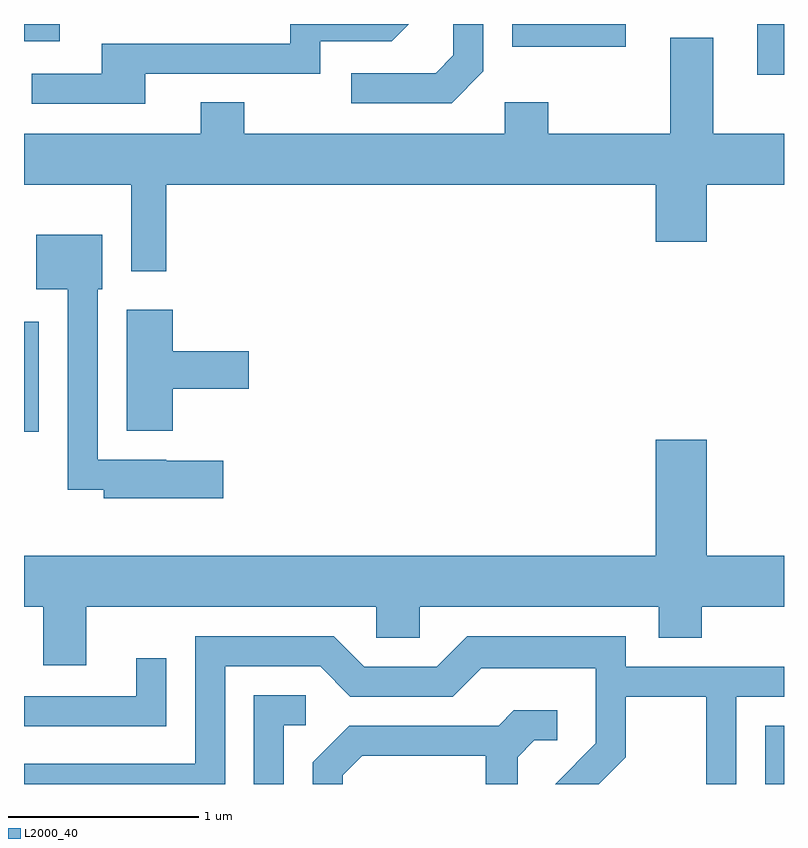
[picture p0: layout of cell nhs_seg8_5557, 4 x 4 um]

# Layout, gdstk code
import gdstk
lib = gdstk.Library(unit=1e-6, precision=1e-09)
def R(c, l, rs):  # rectangles x0, y0, x1, y1
    for r in rs: c.add(gdstk.rectangle(r[:2], r[2:], *l))
def P(c, l, *ps):  # polygons
    for p in ps: c.add(gdstk.Polygon(p, *l))
L2000_40 = (2000, 40)

nhs_seg8_5557 = lib.new_cell('nhs_seg8_5557')
R(nhs_seg8_5557, L2000_40, [(355.511,1864.342,355.611,1864.649), (351.611,1866.196,351.689,1866.774), (355.471,1868.076,355.611,1868.342), (354.181,1868.221,354.779,1868.342), (351.611,1868.251,351.799,1868.342)])
P(nhs_seg8_5557, L2000_40, [(354.029,1868.094),(354.029,1868.342),(353.871,1868.342),(353.871,1868.177),(353.779,1868.084),(353.333,1868.084),(353.333,1867.926),(353.862,1867.926)],
  [(352.249,1868.081),(353.169,1868.081),(353.169,1868.251),(353.547,1868.251),(353.637,1868.342),(353.011,1868.342),(353.011,1868.239),(352.021,1868.239),(352.021,1868.079),(351.653,1868.079),(351.653,1867.921),(352.249,1867.921)],
  [(355.011,1867.764),(354.369,1867.764),(354.369,1867.929),(354.141,1867.929),(354.141,1867.764),(352.769,1867.764),(352.769,1867.929),(352.541,1867.929),(352.541,1867.764),(351.611,1867.764),(351.611,1867.496),(352.176,1867.496),(352.176,1867.041),(352.359,1867.041),(352.359,1867.496),(354.936,1867.496),(354.936,1867.196),(355.204,1867.196),(355.204,1867.496),(355.611,1867.496),(355.611,1867.764),(355.239,1867.764),(355.239,1868.269),(355.011,1868.269)],
  [(352.659,1866.044),(352.36,1866.044),(352.36,1866.049),(351.999,1866.049),(351.999,1866.946),(352.024,1866.946),(352.024,1867.234),(351.676,1867.234),(351.676,1866.946),(351.841,1866.946),(351.841,1865.891),(352.031,1865.891),(352.031,1865.846),(352.659,1865.846)],
  [(352.394,1866.421),(352.794,1866.421),(352.794,1866.619),(352.394,1866.619),(352.394,1866.839),(352.151,1866.839),(352.151,1866.201),(352.394,1866.201)],
  [(351.939,1865.276),(353.466,1865.276),(353.466,1865.111),(353.694,1865.111),(353.694,1865.276),(354.951,1865.276),(354.951,1865.111),(355.179,1865.111),(355.179,1865.276),(355.611,1865.276),(355.611,1865.544),(355.204,1865.544),(355.204,1866.154),(354.936,1866.154),(354.936,1865.544),(351.611,1865.544),(351.611,1865.276),(351.711,1865.276),(351.711,1864.966),(351.939,1864.966)],
  [(352.669,1864.961),(353.169,1864.961),(353.329,1864.801),(353.867,1864.801),(354.017,1864.951),(354.621,1864.951),(354.621,1864.557),(354.406,1864.342),(354.637,1864.342),(354.779,1864.484),(354.779,1864.801),(355.201,1864.801),(355.201,1864.342),(355.359,1864.342),(355.359,1864.801),(355.611,1864.801),(355.611,1864.959),(354.779,1864.959),(354.779,1865.119),(353.944,1865.119),(353.784,1864.959),(353.402,1864.959),(353.242,1865.119),(352.511,1865.119),(352.511,1864.449),(351.611,1864.449),(351.611,1864.342),(352.669,1864.342)],
  [(352.359,1865.003),(352.201,1865.003),(352.201,1864.804),(351.611,1864.804),(351.611,1864.646),(352.359,1864.646)],
  [(352.979,1864.651),(353.093,1864.651),(353.093,1864.809),(352.821,1864.809),(352.821,1864.342),(352.979,1864.342)],
  [(353.289,1864.389),(353.392,1864.491),(354.041,1864.491),(354.041,1864.342),(354.209,1864.342),(354.209,1864.484),(354.297,1864.571),(354.418,1864.571),(354.418,1864.729),(354.189,1864.729),(354.109,1864.649),(353.324,1864.649),(353.131,1864.457),(353.131,1864.342),(353.289,1864.342)])

lib.write_gds('nhs_seg8_5557.gds')
